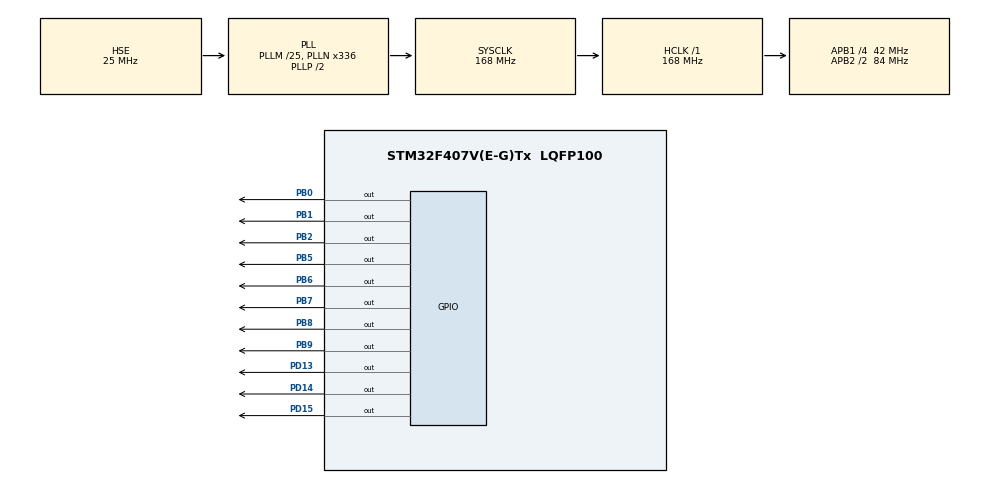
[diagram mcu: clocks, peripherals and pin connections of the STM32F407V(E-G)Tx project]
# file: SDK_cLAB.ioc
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IWDG.Prescaler=IWDG_PRESCALER_64
Mcu.Family=STM32F4
Mcu.Name=STM32F407V(E-G)Tx
Mcu.Package=LQFP100
NVIC.PriorityGroup=NVIC_PRIORITYGROUP_4
PA13.Mode=JTAG_5_pins
PA13.Signal=SYS_JTMS-SWDIO
PA14.Mode=JTAG_5_pins
PA14.Signal=SYS_JTCK-SWCLK
PA15.Mode=JTAG_5_pins
PA15.Signal=SYS_JTDI
PB0.Signal=GPIO_Output
PB1.Signal=GPIO_Output
PB2.Signal=GPIO_Output
PB3.Mode=JTAG_5_pins
PB3.Signal=SYS_JTDO-SWO
PB4.Mode=JTAG_5_pins
PB4.Signal=SYS_JTRST
PB5.Signal=GPIO_Output
PB6.Signal=GPIO_Output
PB7.Signal=GPIO_Output
PB8.Signal=GPIO_Output
PB9.Signal=GPIO_Output
PD13.GPIO_Speed=GPIO_SPEED_FREQ_HIGH
PD13.PinState=GPIO_PIN_RESET
PD13.Signal=GPIO_Output
PD14.GPIO_Speed=GPIO_SPEED_FREQ_HIGH
PD14.PinState=GPIO_PIN_RESET
PD14.Signal=GPIO_Output
PD15.GPIO_Speed=GPIO_SPEED_FREQ_HIGH
PD15.Signal=GPIO_Output
PH0-OSC_IN.Mode=HSE-External-Oscillator
PH0-OSC_IN.Signal=RCC_OSC_IN
PH1-OSC_OUT.Mode=HSE-External-Oscillator
PH1-OSC_OUT.Signal=RCC_OSC_OUT
ProjectManager.HeapSize=0x200
ProjectManager.StackSize=0x400
ProjectManager.TargetToolchain=STM32CubeIDE
RCC.48MHZClocksFreq_Value=84000000
RCC.AHBFreq_Value=168000000
RCC.APB1CLKDivider=RCC_HCLK_DIV4
RCC.APB1Freq_Value=42000000
RCC.APB1TimFreq_Value=84000000
RCC.APB2CLKDivider=RCC_HCLK_DIV2
RCC.APB2Freq_Value=84000000
RCC.APB2TimFreq_Value=168000000
RCC.CortexFreq_Value=168000000
RCC.HCLKFreq_Value=168000000
RCC.HSE_VALUE=25000000
RCC.HSI_VALUE=16000000
RCC.LSE_VALUE=32768
RCC.PLLM=25
RCC.PLLN=336
RCC.PLLSourceVirtual=RCC_PLLSOURCE_HSE
RCC.SYSCLKFreq_VALUE=168000000
RCC.SYSCLKSource=RCC_SYSCLKSOURCE_PLLCLK
RCC.VCOOutputFreq_Value=336000000
VP_IWDG_VS_IWDG.Mode=IWDG_Activate
board=custom

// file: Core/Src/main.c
/* USER CODE BEGIN Header */
/**
  ******************************************************************************
  * @file           : main.c
  * @brief          : Main program body
  ******************************************************************************
  * @attention
  *
  * <h2><center>&copy; Copyright (c) 2020 STMicroelectronics.
  * All rights reserved.</center></h2>
  *
  * This software component is licensed by ST under BSD 3-Clause license,
  * the "License"; You may not use this file except in compliance with the
  * License. You may obtain a copy of the License at:
  *                        opensource.org/licenses/BSD-3-Clause
  *
  ******************************************************************************
  */
/* USER CODE END Header */
#include "main.h"
#include "iwdg.h"
#include "gpio.h"

/* USER CODE BEGIN Includes */
#include "trace.h"
/* USER CODE END Includes */

void SystemClock_Config(void);

int main(void)
{

  /* MCU Configuration--------------------------------------------------------*/

  /* Reset of all peripherals, Initializes the Flash interface and the Systick. */
  HAL_Init();

  /* Configure the system clock */
  SystemClock_Config();

  /* Initialize all configured peripherals */
  MX_GPIO_Init();
  MX_IWDG_Init();
  /* USER CODE BEGIN 2 */

  /* Do not remove this code below */
  MX_TRACE_Init();
  SDK_TRACE_Start();
  /* Do not remove this code from above */

  uint8_t value_a = 10;
  uint8_t value_b = 11;

  HAL_GPIO_WritePin(GPIOB, GPIO_PIN_0, value_a & 0x01);
  HAL_GPIO_WritePin(GPIOB, GPIO_PIN_1, (value_a >> 1) & 0x01);
  HAL_GPIO_WritePin(GPIOB, GPIO_PIN_2, (value_a >> 2) & 0x01);
  HAL_GPIO_WritePin(GPIOB, GPIO_PIN_5, (value_a >> 3) & 0x01);

  HAL_GPIO_WritePin(GPIOB, GPIO_PIN_6, value_b & 0x01);
  HAL_GPIO_WritePin(GPIOB, GPIO_PIN_7, (value_b >> 1) & 0x01);
  HAL_GPIO_WritePin(GPIOB, GPIO_PIN_8, (value_b >> 2) & 0x01);
  HAL_GPIO_WritePin(GPIOB, GPIO_PIN_9, (value_b >> 3) & 0x01);

  SDK_TRACE_Timestamp(P0, HAL_GPIO_ReadPin(GPIOB, GPIO_PIN_0));
  SDK_TRACE_Timestamp(P1, HAL_GPIO_ReadPin(GPIOB, GPIO_PIN_1));
  SDK_TRACE_Timestamp(P2, HAL_GPIO_ReadPin(GPIOB, GPIO_PIN_2));
  SDK_TRACE_Timestamp(P3, HAL_GPIO_ReadPin(GPIOB, GPIO_PIN_5));
  SDK_TRACE_Timestamp(P4, HAL_GPIO_ReadPin(GPIOB, GPIO_PIN_6));
  SDK_TRACE_Timestamp(P5, HAL_GPIO_ReadPin(GPIOB, GPIO_PIN_7));
  SDK_TRACE_Timestamp(P6, HAL_GPIO_ReadPin(GPIOB, GPIO_PIN_8));
  SDK_TRACE_Timestamp(P7, HAL_GPIO_ReadPin(GPIOB, GPIO_PIN_9));

  uint8_t readed_value_a = HAL_GPIO_ReadPin(GPIOB, GPIO_PIN_0);
  readed_value_a = readed_value_a | (HAL_GPIO_ReadPin(GPIOB, GPIO_PIN_1) << 1);
  readed_value_a = readed_value_a | (HAL_GPIO_ReadPin(GPIOB, GPIO_PIN_2) << 2);
  readed_value_a = readed_value_a | (HAL_GPIO_ReadPin(GPIOB, GPIO_PIN_5) << 3);

  uint8_t readed_value_b = HAL_GPIO_ReadPin(GPIOB, GPIO_PIN_6);
  readed_value_b = readed_value_b | (HAL_GPIO_ReadPin(GPIOB, GPIO_PIN_7) << 1);
  readed_value_b = readed_value_b | (HAL_GPIO_ReadPin(GPIOB, GPIO_PIN_8) << 2);
  readed_value_b = readed_value_b | (HAL_GPIO_ReadPin(GPIOB, GPIO_PIN_9) << 3);

  int result = readed_value_a + readed_value_b;
  SDK_TRACE_Print("Result a+b: %d", result);

  /* Place your code before here */
  /* Do not remove this code below */
  SDK_TRACE_Stop();
  /* Do not remove this code from above */

  /* USER CODE END 2 */

  /* Infinite loop */
  while (1)
  {

  }
}

void SystemClock_Config(void)
{
  RCC_OscInitTypeDef RCC_OscInitStruct = {0};
  RCC_ClkInitTypeDef RCC_ClkInitStruct = {0};

  /** Configure the main internal regulator output voltage
  */
  __HAL_RCC_PWR_CLK_ENABLE();
  __HAL_PWR_VOLTAGESCALING_CONFIG(PWR_REGULATOR_VOLTAGE_SCALE1);
  /** Initializes the RCC Oscillators according to the specified parameters
  * in the RCC_OscInitTypeDef structure.
  */
  RCC_OscInitStruct.OscillatorType = RCC_OSCILLATORTYPE_LSI|RCC_OSCILLATORTYPE_HSE;
  RCC_OscInitStruct.HSEState = RCC_HSE_ON;
  RCC_OscInitStruct.LSIState = RCC_LSI_ON;
  RCC_OscInitStruct.PLL.PLLState = RCC_PLL_ON;
  RCC_OscInitStruct.PLL.PLLSource = RCC_PLLSOURCE_HSE;
  RCC_OscInitStruct.PLL.PLLM = 25;
  RCC_OscInitStruct.PLL.PLLN = 336;
  RCC_OscInitStruct.PLL.PLLP = RCC_PLLP_DIV2;
  RCC_OscInitStruct.PLL.PLLQ = 4;
  if (HAL_RCC_OscConfig(&RCC_OscInitStruct) != HAL_OK)
  {
    Error_Handler();
  }
  /** Initializes the CPU, AHB and APB buses clocks
  */
  RCC_ClkInitStruct.ClockType = RCC_CLOCKTYPE_HCLK|RCC_CLOCKTYPE_SYSCLK
                              |RCC_CLOCKTYPE_PCLK1|RCC_CLOCKTYPE_PCLK2;
  RCC_ClkInitStruct.SYSCLKSource = RCC_SYSCLKSOURCE_PLLCLK;
  RCC_ClkInitStruct.AHBCLKDivider = RCC_SYSCLK_DIV1;
  RCC_ClkInitStruct.APB1CLKDivider = RCC_HCLK_DIV4;
  RCC_ClkInitStruct.APB2CLKDivider = RCC_HCLK_DIV2;

  if (HAL_RCC_ClockConfig(&RCC_ClkInitStruct, FLASH_LATENCY_5) != HAL_OK)
  {
    Error_Handler();
  }
}

void Error_Handler(void)
{
}

/************************ (C) COPYRIGHT STMicroelectronics *****END OF FILE****/
